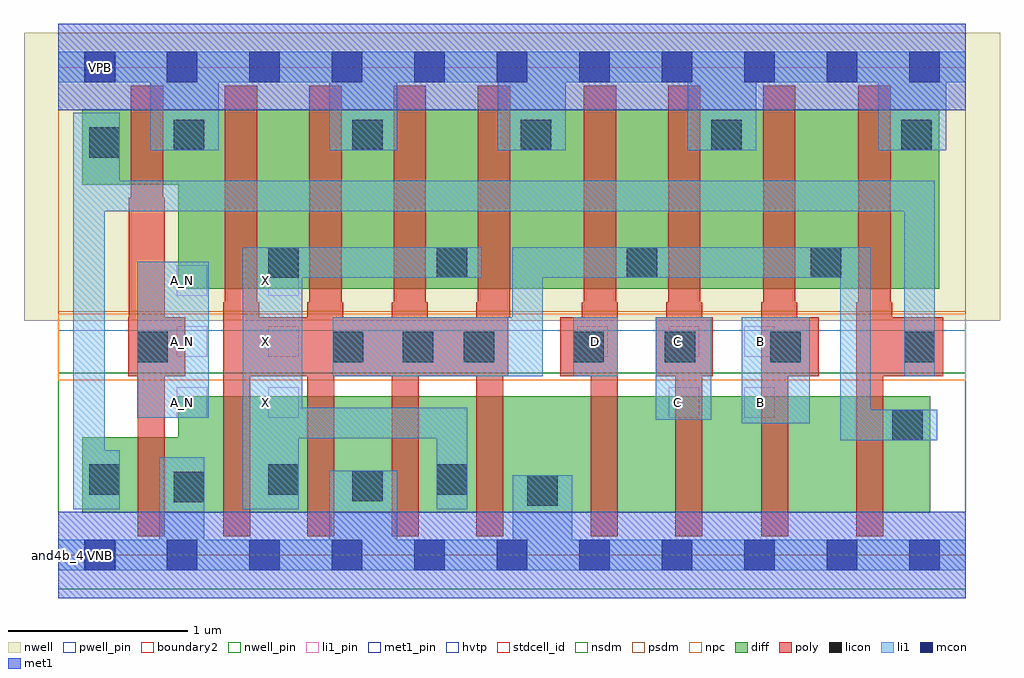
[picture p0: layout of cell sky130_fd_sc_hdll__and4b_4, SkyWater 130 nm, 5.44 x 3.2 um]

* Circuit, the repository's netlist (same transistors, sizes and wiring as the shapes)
* Copyright 2020 The SkyWater PDK Authors
*
* Licensed under the Apache License, Version 2.0 (the "License");
* you may not use this file except in compliance with the License.
* You may obtain a copy of the License at
*
*     https://www.apache.org/licenses/LICENSE-2.0
*
* Unless required by applicable law or agreed to in writing, software
* distributed under the License is distributed on an "AS IS" BASIS,
* WITHOUT WARRANTIES OR CONDITIONS OF ANY KIND, either express or implied.
* See the License for the specific language governing permissions and
* limitations under the License.
*
* SPDX-License-Identifier: Apache-2.0

.SUBCKT sky130_fd_sc_hdll__and4b_4 A_N B C D VGND VNB VPB VPWR X
*.PININFO A_N:I B:I C:I D:I VGND:I VNB:I VPB:I VPWR:I X:O
MMP0 y A VPWR VPB sky130_fd_pr__pfet_01v8_hvt m=1 w=1.0U l=0.18U mult=1 sa=0.265
+ sb=0.265 sd=0.28 area=0.063 perim=1.14
MMP1 y B VPWR VPB sky130_fd_pr__pfet_01v8_hvt m=1 w=1.0U l=0.18U mult=1 sa=0.265
+ sb=0.265 sd=0.28 area=0.063 perim=1.14
MMP2 y C VPWR VPB sky130_fd_pr__pfet_01v8_hvt m=1 w=1.0U l=0.18U mult=1 sa=0.265
+ sb=0.265 sd=0.28 area=0.063 perim=1.14
MMP3 y D VPWR VPB sky130_fd_pr__pfet_01v8_hvt m=1 w=1.0U l=0.18U mult=1 sa=0.265
+ sb=0.265 sd=0.28 area=0.063 perim=1.14
MMIP0 A A_N VPWR VPB sky130_fd_pr__pfet_01v8_hvt m=1 w=0.42U l=0.18U mult=1 sa=0.265
+ sb=0.265 sd=0.28 area=0.063 perim=1.14
MMIP1 X y VPWR VPB sky130_fd_pr__pfet_01v8_hvt m=4 w=1.0U l=0.18U mult=1 sa=0.265
+ sb=0.265 sd=0.28 area=0.063 perim=1.14
MMN0 y A sndA VNB sky130_fd_pr__nfet_01v8 m=1 w=0.65U l=0.15U mult=1 sa=0.265 sb=0.265
+ sd=0.28 area=0.063 perim=1.14
MMN1 sndA B sndB VNB sky130_fd_pr__nfet_01v8 m=1 w=0.65U l=0.15U mult=1 sa=0.265
+ sb=0.265 sd=0.28 area=0.063 perim=1.14
MMN2 sndB C sndC VNB sky130_fd_pr__nfet_01v8 m=1 w=0.65U l=0.15U mult=1 sa=0.265
+ sb=0.265 sd=0.28 area=0.063 perim=1.14
MMN3 sndC D VGND VNB sky130_fd_pr__nfet_01v8 m=1 w=0.65U l=0.15U mult=1 sa=0.265
+ sb=0.265 sd=0.28 area=0.063 perim=1.14
MMIN0 A A_N VGND VNB sky130_fd_pr__nfet_01v8 m=1 w=0.42U l=0.15U mult=1 sa=0.265
+ sb=0.265 sd=0.28 area=0.063 perim=1.14
MMIN1 X y VGND VNB sky130_fd_pr__nfet_01v8 m=4 w=0.65U l=0.15U mult=1 sa=0.265
+ sb=0.265 sd=0.28 area=0.063 perim=1.14
.ENDS sky130_fd_sc_hdll__and4b_4

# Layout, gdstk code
import gdstk
lib = gdstk.Library(unit=1e-6, precision=1e-09)
def R(c, l, rs):  # rectangles x0, y0, x1, y1
    for r in rs: c.add(gdstk.rectangle(r[:2], r[2:], *l))
def A(c, l, x, y, w, h, nx, ny, dx, dy):  # array of equal rectangles
    R(c, l, [(x+i*dx, y+j*dy, x+i*dx+w, y+j*dy+h) for i in range(nx) for j in range(ny)])
def P(c, l, *ps):  # polygons
    for p in ps: c.add(gdstk.Polygon(p, *l))
nwell_pin = (64, 16)
nwell = (64, 20)
diff = (65, 20)
poly = (66, 20)
licon = (66, 44)
li1_pin = (67, 16)
li1 = (67, 20)
mcon = (67, 44)
met1_pin = (68, 16)
met1 = (68, 20)
hvtp = (78, 44)
stdcell_id = (81, 4)
nsdm = (93, 44)
psdm = (94, 20)
npc = (95, 20)
pwell_pin = (122, 16)
boundary2 = (236, 0)

sky130_fd_sc_hdll__and4b = lib.new_cell('sky130_fd_sc_hdll__and4b_4')
R(sky130_fd_sc_hdll__and4b, nwell_pin, [(0.15,2.635,0.32,2.805)])
R(sky130_fd_sc_hdll__and4b, nwell, [(-0.19,1.305,5.25,2.91)])
P(sky130_fd_sc_hdll__and4b, diff, [(4.91,2.485),(0.135,2.485),(0.135,2.065),(0.67,2.065),(0.67,1.485),(4.91,1.485)],
  [(4.86,0.885),(0.67,0.885),(0.67,0.655),(0.135,0.655),(0.135,0.235),(4.86,0.235)])
P(sky130_fd_sc_hdll__and4b, poly, [(0.71,1.325),(0.595,1.325),(0.595,1.99),(0.585,1.99),(0.585,2.615),(0.405,2.615),(0.405,1.99),(0.395,1.99),(0.395,1.325),(0.39,1.325),(0.39,0.995),(0.445,0.995),(0.445,0.105),(0.595,0.105),(0.595,0.995),(0.71,0.995)],
  [(2.52,2.615),(2.34,2.615),(2.34,1.41),(2.33,1.41),(2.33,1.325),(2.06,1.325),(2.06,1.41),(2.05,1.41),(2.05,2.615),(1.87,2.615),(1.87,1.41),(1.86,1.41),(1.86,1.325),(1.59,1.325),(1.59,1.41),(1.58,1.41),(1.58,2.615),(1.4,2.615),(1.4,1.41),(1.39,1.41),(1.39,1.325),(1.12,1.325),(1.12,1.41),(1.11,1.41),(1.11,2.615),(0.93,2.615),(0.93,1.41),(0.92,1.41),(0.92,0.105),(1.07,0.105),(1.07,0.995),(1.39,0.995),(1.39,0.105),(1.54,0.105),(1.54,0.995),(1.86,0.995),(1.86,0.105),(2.01,0.105),(2.01,0.995),(2.33,0.995),(2.33,0.105),(2.48,0.105),(2.48,0.995),(2.51,0.995),(2.51,1.325),(2.52,1.325)],
  [(3.12,1.41),(3.11,1.41),(3.11,2.615),(2.93,2.615),(2.93,1.41),(2.92,1.41),(2.92,1.325),(2.8,1.325),(2.8,0.995),(2.97,0.995),(2.97,0.105),(3.12,0.105)],
  [(3.65,1.325),(3.59,1.325),(3.59,1.41),(3.58,1.41),(3.58,2.615),(3.4,2.615),(3.4,1.41),(3.39,1.41),(3.39,1.325),(3.33,1.325),(3.33,0.995),(3.44,0.995),(3.44,0.105),(3.59,0.105),(3.59,0.995),(3.65,0.995)],
  [(4.24,1.325),(4.12,1.325),(4.12,1.41),(4.11,1.41),(4.11,2.615),(3.93,2.615),(3.93,1.41),(3.92,1.41),(3.92,0.105),(4.07,0.105),(4.07,0.995),(4.24,0.995)],
  [(4.935,1.325),(4.65,1.325),(4.65,1.41),(4.64,1.41),(4.64,2.615),(4.46,2.615),(4.46,1.41),(4.45,1.41),(4.45,0.105),(4.6,0.105),(4.6,0.995),(4.935,0.995)])
A(sky130_fd_sc_hdll__and4b, licon, 2.58, 2.255, 0.17, 0.17, 3, 1, 1.06, 0)
R(sky130_fd_sc_hdll__and4b, licon, [(2.615,0.275,2.785,0.445), (0.645,0.295,0.815,0.465), (1.64,0.3,1.81,0.47), (0.175,0.335,0.345,0.505), (1.17,0.335,1.34,0.505), (2.11,0.335,2.28,0.505), (4.65,0.64,4.82,0.81), (0.44,1.075,0.61,1.245), (1.53,1.075,1.7,1.245), (1.92,1.075,2.09,1.245), (2.26,1.075,2.43,1.245), (2.87,1.075,3.04,1.245), (3.38,1.075,3.55,1.245), (3.97,1.075,4.14,1.245), (4.715,1.075,4.885,1.245), (1.17,1.545,1.34,1.715), (2.11,1.545,2.28,1.715), (3.17,1.545,3.34,1.715), (4.195,1.545,4.365,1.715), (0.175,2.215,0.345,2.385), (0.645,2.255,0.815,2.425), (1.64,2.255,1.81,2.425)])
A(sky130_fd_sc_hdll__and4b, li1_pin, 0.66, 0.765, 0.17, 0.17, 1, 3, 0, 0.34)
A(sky130_fd_sc_hdll__and4b, li1_pin, 1.17, 0.765, 0.17, 0.17, 1, 3, 0, 0.34)
R(sky130_fd_sc_hdll__and4b, li1_pin, [(3.405,0.765,3.575,0.935), (3.825,0.765,3.995,0.935), (2.895,1.105,3.065,1.275), (3.405,1.105,3.575,1.275), (3.825,1.105,3.995,1.275)])
R(sky130_fd_sc_hdll__and4b, li1, [(3.81,0.735,4.19,1.325), (3.33,0.755,3.64,1.325), (0.44,0.765,0.84,1.635), (2.87,0.995,3.12,1.325)])
P(sky130_fd_sc_hdll__and4b, li1, [(5.06,0.085),(2.865,0.085),(2.865,0.445),(2.535,0.445),(2.535,0.085),(1.89,0.085),(1.89,0.47),(1.51,0.47),(1.51,0.085),(0.815,0.085),(0.815,0.545),(0.565,0.545),(0.565,0.085),(0,0.085),(0,-0.085),(5.06,-0.085)],
  [(5.06,2.805),(0,2.805),(0,2.635),(0.515,2.635),(0.515,2.255),(0.895,2.255),(0.895,2.635),(1.51,2.635),(1.51,2.255),(1.89,2.255),(1.89,2.635),(2.45,2.635),(2.45,2.255),(2.83,2.255),(2.83,2.635),(3.51,2.635),(3.51,2.255),(3.89,2.255),(3.89,2.635),(4.57,2.635),(4.57,2.255),(4.95,2.255),(4.95,2.635),(5.06,2.635)],
  [(2.36,1.715),(1.03,1.715),(1.03,0.255),(1.34,0.255),(1.34,0.65),(2.11,0.65),(2.11,0.255),(2.28,0.255),(2.28,0.82),(1.36,0.82),(1.36,1.545),(2.36,1.545)],
  [(4.885,2.085),(0.345,2.085),(0.345,2.465),(0.085,2.465),(0.085,0.255),(0.345,0.255),(0.345,0.585),(0.26,0.585),(0.26,1.915),(4.715,1.915),(4.715,0.995),(4.885,0.995)],
  [(4.9,0.81),(4.53,0.81),(4.53,1.715),(2.53,1.715),(2.53,1.325),(1.53,1.325),(1.53,0.995),(2.7,0.995),(2.7,1.545),(4.36,1.545),(4.36,0.64),(4.9,0.64)])
A(sky130_fd_sc_hdll__and4b, mcon, 0.145, -0.085, 0.17, 0.17, 11, 2, 0.46, 2.72)
R(sky130_fd_sc_hdll__and4b, met1_pin, [(0.15,-0.085,0.32,0.085), (0.15,2.635,0.32,2.805)])
R(sky130_fd_sc_hdll__and4b, met1, [(0,-0.24,5.06,0.24), (0,2.48,5.06,2.96)])
R(sky130_fd_sc_hdll__and4b, hvtp, [(0,1.25,5.06,2.72)])
R(sky130_fd_sc_hdll__and4b, stdcell_id, [(0,0,5.06,2.72)])
R(sky130_fd_sc_hdll__and4b, nsdm, [(0,-0.19,5.06,1.015)])
R(sky130_fd_sc_hdll__and4b, psdm, [(0,1.355,5.06,2.91)])
R(sky130_fd_sc_hdll__and4b, npc, [(0,0.975,5.06,1.345)])
R(sky130_fd_sc_hdll__and4b, pwell_pin, [(0.15,-0.085,0.32,0.085)])
R(sky130_fd_sc_hdll__and4b, boundary2, [(0,0,5.06,2.72)])
sky130_fd_sc_hdll__and4b.add(gdstk.Label('X', (1.155,1.53), layer=67, texttype=5))
sky130_fd_sc_hdll__and4b.add(gdstk.Label('D', (2.995,1.19), layer=67, texttype=5))
sky130_fd_sc_hdll__and4b.add(gdstk.Label('C', (3.455,0.85), layer=67, texttype=5))
sky130_fd_sc_hdll__and4b.add(gdstk.Label('C', (3.455,1.19), layer=67, texttype=5))
sky130_fd_sc_hdll__and4b.add(gdstk.Label('B', (3.915,1.19), layer=67, texttype=5))
sky130_fd_sc_hdll__and4b.add(gdstk.Label('A_N', (0.695,0.85), layer=67, texttype=5))
sky130_fd_sc_hdll__and4b.add(gdstk.Label('A_N', (0.695,1.53), layer=67, texttype=5))
sky130_fd_sc_hdll__and4b.add(gdstk.Label('X', (1.155,0.85), layer=67, texttype=5))
sky130_fd_sc_hdll__and4b.add(gdstk.Label('A_N', (0.695,1.19), layer=67, texttype=5))
sky130_fd_sc_hdll__and4b.add(gdstk.Label('X', (1.155,1.19), layer=67, texttype=5))
sky130_fd_sc_hdll__and4b.add(gdstk.Label('B', (3.915,0.85), layer=67, texttype=5))
sky130_fd_sc_hdll__and4b.add(gdstk.Label('VNB', (0.235,0), layer=64, texttype=59))
sky130_fd_sc_hdll__and4b.add(gdstk.Label('VPB', (0.235,2.72), layer=64, texttype=5))
sky130_fd_sc_hdll__and4b.add(gdstk.Label('VGND', (0.23,0), layer=68, texttype=5))
sky130_fd_sc_hdll__and4b.add(gdstk.Label('VPWR', (0.23,2.72), layer=68, texttype=5))
sky130_fd_sc_hdll__and4b.add(gdstk.Label('and4b_4', (0,0), layer=83, texttype=44))

lib.write_gds('sky130_fd_sc_hdll__and4b_4.gds')
